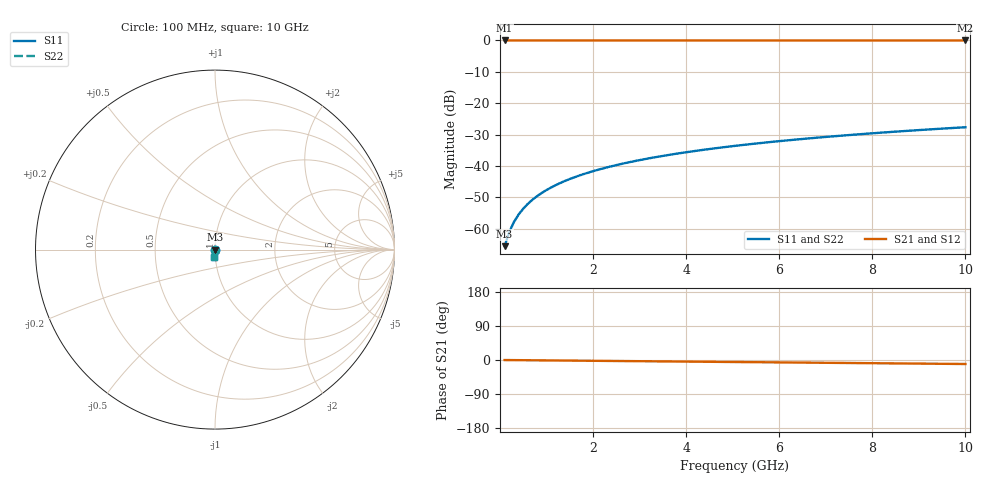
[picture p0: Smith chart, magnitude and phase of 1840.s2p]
# Hz S RI R 50.00
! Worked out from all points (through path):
!   100 points, 100 MHz to 10 GHz, reference 50 ohm
!   highest |S21| = 0.00 dB at 100 MHz (marker M1); lowest = 0.0 dB at 10 GHz (marker M2)
!   group delay of S21, straight-line fit = 2.94 ps
!   lowest |S11| = -65.6 dB at 100 MHz (marker M3), VSWR 1.00, Z = 50 - j0.0411 ohm
!   |S11| at or under -10 dB: start of sweep to end of sweep
!   |S22| runs from -65.6 to -27.7 dB; largest |S21 - S12| = 0
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1e8  0.000326 -0.000411  0.9997 -0.00183  0.9997 -0.00183  0.000326 -0.000411
2e8  0.000325 -0.000822  0.9997 -0.00365  0.9997 -0.00365  0.000325 -0.000822
3e8  0.000322 -0.00123  0.9996 -0.00548  0.9996 -0.00548  0.000322 -0.00123
4e8  0.000317 -0.00164  0.9996 -0.0073  0.9996 -0.0073  0.000317 -0.00164
5e8  0.00031 -0.00205  0.9996 -0.00913  0.9996 -0.00913  0.00031 -0.00205
6e8  0.000302 -0.00247  0.9996 -0.011  0.9996 -0.011  0.000302 -0.00247
7e8  0.000292 -0.00288  0.9996 -0.0128  0.9996 -0.0128  0.000292 -0.00288
8e8  0.00028 -0.00329  0.9995 -0.0146  0.9995 -0.0146  0.00028 -0.00329
9e8  0.000267 -0.0037  0.9995 -0.0164  0.9995 -0.0164  0.000267 -0.0037
1.1e9  0.000237 -0.00452  0.9994 -0.0201  0.9994 -0.0201  0.000237 -0.00452
1.4e9  0.000179 -0.00576  0.9993 -0.0256  0.9993 -0.0256  0.000179 -0.00576
1.8e9  8.07e-05 -0.0074  0.9991 -0.0329  0.9991 -0.0329  8.07e-05 -0.0074
2.1e9  -9.03e-06 -0.00864  0.9989 -0.0384  0.9989 -0.0384  -9.03e-06 -0.00864
2.5e9  -0.00015 -0.0103  0.9985 -0.0457  0.9985 -0.0457  -0.00015 -0.0103
2.9e9  -0.000315 -0.0119  0.9981 -0.053  0.9981 -0.053  -0.000315 -0.0119
3.4e9  -0.000557 -0.014  0.9976 -0.0622  0.9976 -0.0622  -0.000557 -0.014
4.2e9  -0.00102 -0.0173  0.9965 -0.0768  0.9965 -0.0768  -0.00102 -0.0173
5.1e9  -0.00166 -0.021  0.995 -0.0933  0.995 -0.0933  -0.00166 -0.021
5.9e9  -0.00234 -0.0243  0.9934 -0.108  0.9934 -0.108  -0.00234 -0.0243
6.7e9  -0.00311 -0.0275  0.9916 -0.1227  0.9916 -0.1227  -0.00311 -0.0275
8.4e9  -0.00507 -0.0344  0.987 -0.1539  0.987 -0.1539  -0.00507 -0.0344
1e10  -0.00731 -0.0407  0.9817 -0.1832  0.9817 -0.1832  -0.00731 -0.0407
